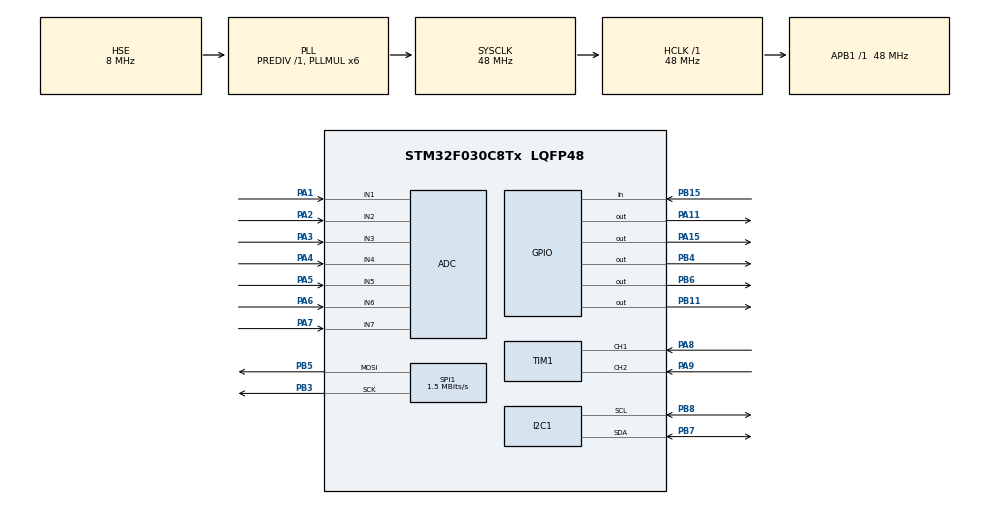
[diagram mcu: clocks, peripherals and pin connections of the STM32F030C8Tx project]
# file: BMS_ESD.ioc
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ADC.ContinuousConvMode=ENABLE
ADC.DMAContinuousRequests=DISABLE
ADC.DiscontinuousConvMode=DISABLE
ADC.SamplingTime=ADC_SAMPLETIME_239CYCLES_5
Dma.ADC.0.Direction=DMA_PERIPH_TO_MEMORY
Dma.ADC.0.Instance=DMA1_Channel1
Dma.ADC.0.MemDataAlignment=DMA_MDATAALIGN_HALFWORD
Dma.ADC.0.MemInc=DMA_MINC_ENABLE
Dma.ADC.0.Mode=DMA_CIRCULAR
Dma.ADC.0.PeriphDataAlignment=DMA_PDATAALIGN_HALFWORD
Dma.ADC.0.PeriphInc=DMA_PINC_DISABLE
Dma.ADC.0.Priority=DMA_PRIORITY_LOW
Dma.Request0=ADC
Mcu.Family=STM32F0
Mcu.Name=STM32F030C8Tx
Mcu.Package=LQFP48
NVIC.DMA1_Channel1_IRQn=true\:0\:0\:false\:false\:true\:false\:true\:true
NVIC.TIM17_IRQn=true\:0\:0\:false\:false\:true\:true\:true\:true
PA1.Mode=IN1
PA1.Signal=ADC_IN1
PA11.Signal=GPIO_Output
PA13.Mode=Serial_Wire
PA13.Signal=SYS_SWDIO
PA14.Mode=Serial_Wire
PA14.Signal=SYS_SWCLK
PA15.Signal=GPIO_Output
PA2.Mode=IN2
PA2.Signal=ADC_IN2
PA3.Mode=IN3
PA3.Signal=ADC_IN3
PA4.Mode=IN4
PA4.Signal=ADC_IN4
PA5.Mode=IN5
PA5.Signal=ADC_IN5
PA6.Mode=IN6
PA6.Signal=ADC_IN6
PA7.Mode=IN7
PA7.Signal=ADC_IN7
PA8.Signal=S_TIM1_CH1
PA9.Signal=S_TIM1_CH2
PB11.Signal=GPIO_Output
PB15.GPIO_PuPd=GPIO_PULLUP
PB15.Signal=GPIO_Input
PB3.Mode=TX_Only_Simplex_Unidirect_Master
PB3.Signal=SPI1_SCK
PB4.Signal=GPIO_Output
PB5.Mode=TX_Only_Simplex_Unidirect_Master
PB5.Signal=SPI1_MOSI
PB6.Signal=GPIO_Output
PB7.Mode=I2C
PB7.Signal=I2C1_SDA
PB8.Mode=I2C
PB8.Signal=I2C1_SCL
PF0-OSC_IN.Mode=HSE-External-Oscillator
PF0-OSC_IN.Signal=RCC_OSC_IN
PF1-OSC_OUT.Mode=HSE-External-Oscillator
PF1-OSC_OUT.Signal=RCC_OSC_OUT
ProjectManager.HeapSize=0x200
ProjectManager.StackSize=0x400
ProjectManager.TargetToolchain=STM32CubeIDE
RCC.AHBFreq_Value=48000000
RCC.APB1Freq_Value=48000000
RCC.APB1TimFreq_Value=48000000
RCC.HCLKFreq_Value=48000000
RCC.PLLMUL=RCC_PLL_MUL6
RCC.PLLSourceVirtual=RCC_PLLSOURCE_HSE
RCC.SYSCLKFreq_VALUE=48000000
RCC.SYSCLKSource=RCC_SYSCLKSOURCE_PLLCLK
SH.S_TIM1_CH1.0=TIM1_CH1,Encoder_Interface
SH.S_TIM1_CH2.0=TIM1_CH2,Encoder_Interface
SPI1.BaudRatePrescaler=SPI_BAUDRATEPRESCALER_32
SPI1.CalculateBaudRate=1.5 MBits/s
SPI1.DataSize=SPI_DATASIZE_8BIT
SPI1.Direction=SPI_DIRECTION_2LINES
SPI1.Mode=SPI_MODE_MASTER
SPI1.VirtualType=VM_MASTER
TIM1.EncoderMode=TIM_ENCODERMODE_TI12
TIM17.Period=39999
TIM17.Prescaler=239
VP_ADC_TempSens_Input.Mode=IN-TempSens
VP_TIM17_VS_ClockSourceINT.Mode=Enable_Timer
board=custom

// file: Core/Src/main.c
/* USER CODE BEGIN Header */
/**
  ******************************************************************************
  * @file           : main.c
  * @brief          : Main program body
  ******************************************************************************
  * @attention
  *
  * Copyright (c) 2023 STMicroelectronics.
  * All rights reserved.
  *
  * This software is licensed under terms that can be found in the LICENSE file
  * in the root directory of this software component.
  * If no LICENSE file comes with this software, it is provided AS-IS.
  *
  ******************************************************************************
  */
/* USER CODE END Header */
#include "main.h"

/* USER CODE BEGIN Includes */
#include "get_data.h"
#include "rotary_encoder.h"
#include "button.h"
#include "control_bat.h"
/* USER CODE END Includes */

/* USER CODE BEGIN PD */
#define BAT_NUMBEROFCELLS 4
/* USER CODE END PD */

ADC_HandleTypeDef hadc;
DMA_HandleTypeDef hdma_adc;

I2C_HandleTypeDef hi2c1;

SPI_HandleTypeDef hspi1;

TIM_HandleTypeDef htim1;
TIM_HandleTypeDef htim17;

/* USER CODE BEGIN PV */
BAT_t battery;
BUTTON_t button;
RE_t rotary;
MODE_t bat_mode;
/* USER CODE END PV */

void SystemClock_Config(void);
static void MX_GPIO_Init(void);
static void MX_DMA_Init(void);
static void MX_ADC_Init(void);
static void MX_I2C1_Init(void);
static void MX_SPI1_Init(void);
static void MX_TIM1_Init(void);
static void MX_TIM17_Init(void);

/* USER CODE BEGIN 0 */
void HAL_TIM_PeriodElapsedCallback(TIM_HandleTypeDef *htim)
{
	if (htim->Instance == htim17.Instance)
	{
		TASK_GetBatteryData(&battery);
	}
}

/* USER CODE END 0 */

int main(void)
{

  /* MCU Configuration--------------------------------------------------------*/

  /* Reset of all peripherals, Initializes the Flash interface and the Systick. */
  HAL_Init();

  /* Configure the system clock */
  SystemClock_Config();

  /* Initialize all configured peripherals */
  MX_GPIO_Init();
  MX_DMA_Init();
  MX_ADC_Init();
  MX_I2C1_Init();
  MX_SPI1_Init();
  MX_TIM1_Init();
  MX_TIM17_Init();
  /* USER CODE BEGIN 2 */
  HAL_TIM_Base_Start_IT(&htim17);
  BUTTON_Init(&button, GPIOA, GPIO_PIN_8);
  RE_Init(&rotary, &htim1);
  BAT_InitInfo(&battery, hadc, BAT_NUMBEROFCELLS);

  /* USER CODE END 2 */

  /* Infinite loop */
  while (1)
  {

    /* USER CODE BEGIN 3 */
	  BUTTON_Handle(&button);
	  RE_Handle(&rotary);
	  MODE_BatteryManager(&battery, bat_mode);
  }
  /* USER CODE END 3 */
}

void SystemClock_Config(void)
{
  RCC_OscInitTypeDef RCC_OscInitStruct = {0};
  RCC_ClkInitTypeDef RCC_ClkInitStruct = {0};
  RCC_PeriphCLKInitTypeDef PeriphClkInit = {0};

  /** Initializes the RCC Oscillators according to the specified parameters
  * in the RCC_OscInitTypeDef structure.
  */
  RCC_OscInitStruct.OscillatorType = RCC_OSCILLATORTYPE_HSI|RCC_OSCILLATORTYPE_HSI14
                              |RCC_OSCILLATORTYPE_HSE;
  RCC_OscInitStruct.HSEState = RCC_HSE_ON;
  RCC_OscInitStruct.HSIState = RCC_HSI_ON;
  RCC_OscInitStruct.HSI14State = RCC_HSI14_ON;
  RCC_OscInitStruct.HSICalibrationValue = RCC_HSICALIBRATION_DEFAULT;
  RCC_OscInitStruct.HSI14CalibrationValue = 16;
  RCC_OscInitStruct.PLL.PLLState = RCC_PLL_ON;
  RCC_OscInitStruct.PLL.PLLSource = RCC_PLLSOURCE_HSE;
  RCC_OscInitStruct.PLL.PLLMUL = RCC_PLL_MUL6;
  RCC_OscInitStruct.PLL.PREDIV = RCC_PREDIV_DIV1;
  if (HAL_RCC_OscConfig(&RCC_OscInitStruct) != HAL_OK)
  {
    Error_Handler();
  }

  /** Initializes the CPU, AHB and APB buses clocks
  */
  RCC_ClkInitStruct.ClockType = RCC_CLOCKTYPE_HCLK|RCC_CLOCKTYPE_SYSCLK
                              |RCC_CLOCKTYPE_PCLK1;
  RCC_ClkInitStruct.SYSCLKSource = RCC_SYSCLKSOURCE_PLLCLK;
  RCC_ClkInitStruct.AHBCLKDivider = RCC_SYSCLK_DIV1;
  RCC_ClkInitStruct.APB1CLKDivider = RCC_HCLK_DIV1;

  if (HAL_RCC_ClockConfig(&RCC_ClkInitStruct, FLASH_LATENCY_1) != HAL_OK)
  {
    Error_Handler();
  }
  PeriphClkInit.PeriphClockSelection = RCC_PERIPHCLK_I2C1;
  PeriphClkInit.I2c1ClockSelection = RCC_I2C1CLKSOURCE_HSI;
  if (HAL_RCCEx_PeriphCLKConfig(&PeriphClkInit) != HAL_OK)
  {
    Error_Handler();
  }
}

static void MX_ADC_Init(void)
{

  ADC_ChannelConfTypeDef sConfig = {0};

  /** Configure the global features of the ADC (Clock, Resolution, Data Alignment and number of conversion)
  */
  hadc.Instance = ADC1;
  hadc.Init.ClockPrescaler = ADC_CLOCK_ASYNC_DIV1;
  hadc.Init.Resolution = ADC_RESOLUTION_12B;
  hadc.Init.DataAlign = ADC_DATAALIGN_RIGHT;
  hadc.Init.ScanConvMode = ADC_SCAN_DIRECTION_FORWARD;
  hadc.Init.EOCSelection = ADC_EOC_SINGLE_CONV;
  hadc.Init.LowPowerAutoWait = DISABLE;
  hadc.Init.LowPowerAutoPowerOff = DISABLE;
  hadc.Init.ContinuousConvMode = ENABLE;
  hadc.Init.DiscontinuousConvMode = DISABLE;
  hadc.Init.ExternalTrigConv = ADC_SOFTWARE_START;
  hadc.Init.ExternalTrigConvEdge = ADC_EXTERNALTRIGCONVEDGE_NONE;
  hadc.Init.DMAContinuousRequests = DISABLE;
  hadc.Init.Overrun = ADC_OVR_DATA_PRESERVED;
  if (HAL_ADC_Init(&hadc) != HAL_OK)
  {
    Error_Handler();
  }

  /** Configure for the selected ADC regular channel to be converted.
  */
  sConfig.Channel = ADC_CHANNEL_1;
  sConfig.Rank = ADC_RANK_CHANNEL_NUMBER;
  sConfig.SamplingTime = ADC_SAMPLETIME_239CYCLES_5;
  if (HAL_ADC_ConfigChannel(&hadc, &sConfig) != HAL_OK)
  {
    Error_Handler();
  }

  /** Configure for the selected ADC regular channel to be converted.
  */
  sConfig.Channel = ADC_CHANNEL_2;
  if (HAL_ADC_ConfigChannel(&hadc, &sConfig) != HAL_OK)
  {
    Error_Handler();
  }

  /** Configure for the selected ADC regular channel to be converted.
  */
  sConfig.Channel = ADC_CHANNEL_3;
  if (HAL_ADC_ConfigChannel(&hadc, &sConfig) != HAL_OK)
  {
    Error_Handler();
  }

  /** Configure for the selected ADC regular channel to be converted.
  */
  sConfig.Channel = ADC_CHANNEL_4;
  if (HAL_ADC_ConfigChannel(&hadc, &sConfig) != HAL_OK)
  {
    Error_Handler();
  }

  /** Configure for the selected ADC regular channel to be converted.
  */
  sConfig.Channel = ADC_CHANNEL_5;
  if (HAL_ADC_ConfigChannel(&hadc, &sConfig) != HAL_OK)
  {
    Error_Handler();
  }

  /** Configure for the selected ADC regular channel to be converted.
  */
  sConfig.Channel = ADC_CHANNEL_6;
  if (HAL_ADC_ConfigChannel(&hadc, &sConfig) != HAL_OK)
  {
    Error_Handler();
  }

  /** Configure for the selected ADC regular channel to be converted.
  */
  sConfig.Channel = ADC_CHANNEL_7;
  if (HAL_ADC_ConfigChannel(&hadc, &sConfig) != HAL_OK)
  {
    Error_Handler();
  }

  /** Configure for the selected ADC regular channel to be converted.
  */
  sConfig.Channel = ADC_CHANNEL_TEMPSENSOR;
  if (HAL_ADC_ConfigChannel(&hadc, &sConfig) != HAL_OK)
  {
    Error_Handler();
  }

}

static void MX_I2C1_Init(void)
{

  hi2c1.Instance = I2C1;
  hi2c1.Init.Timing = 0x2000090E;
  hi2c1.Init.OwnAddress1 = 0;
  hi2c1.Init.AddressingMode = I2C_ADDRESSINGMODE_7BIT;
  hi2c1.Init.DualAddressMode = I2C_DUALADDRESS_DISABLE;
  hi2c1.Init.OwnAddress2 = 0;
  hi2c1.Init.OwnAddress2Masks = I2C_OA2_NOMASK;
  hi2c1.Init.GeneralCallMode = I2C_GENERALCALL_DISABLE;
  hi2c1.Init.NoStretchMode = I2C_NOSTRETCH_DISABLE;
  if (HAL_I2C_Init(&hi2c1) != HAL_OK)
  {
    Error_Handler();
  }

  /** Configure Analogue filter
  */
  if (HAL_I2CEx_ConfigAnalogFilter(&hi2c1, I2C_ANALOGFILTER_ENABLE) != HAL_OK)
  {
    Error_Handler();
  }

  /** Configure Digital filter
  */
  if (HAL_I2CEx_ConfigDigitalFilter(&hi2c1, 0) != HAL_OK)
  {
    Error_Handler();
  }

}

static void MX_SPI1_Init(void)
{

  /* SPI1 parameter configuration*/
  hspi1.Instance = SPI1;
  hspi1.Init.Mode = SPI_MODE_MASTER;
  hspi1.Init.Direction = SPI_DIRECTION_2LINES;
  hspi1.Init.DataSize = SPI_DATASIZE_8BIT;
  hspi1.Init.CLKPolarity = SPI_POLARITY_LOW;
  hspi1.Init.CLKPhase = SPI_PHASE_1EDGE;
  hspi1.Init.NSS = SPI_NSS_SOFT;
  hspi1.Init.BaudRatePrescaler = SPI_BAUDRATEPRESCALER_32;
  hspi1.Init.FirstBit = SPI_FIRSTBIT_MSB;
  hspi1.Init.TIMode = SPI_TIMODE_DISABLE;
  hspi1.Init.CRCCalculation = SPI_CRCCALCULATION_DISABLE;
  hspi1.Init.CRCPolynomial = 7;
  hspi1.Init.CRCLength = SPI_CRC_LENGTH_DATASIZE;
  hspi1.Init.NSSPMode = SPI_NSS_PULSE_ENABLE;
  if (HAL_SPI_Init(&hspi1) != HAL_OK)
  {
    Error_Handler();
  }

}

static void MX_TIM1_Init(void)
{

  TIM_Encoder_InitTypeDef sConfig = {0};
  TIM_MasterConfigTypeDef sMasterConfig = {0};

  htim1.Instance = TIM1;
  htim1.Init.Prescaler = 0;
  htim1.Init.CounterMode = TIM_COUNTERMODE_UP;
  htim1.Init.Period = 65535;
  htim1.Init.ClockDivision = TIM_CLOCKDIVISION_DIV1;
  htim1.Init.RepetitionCounter = 0;
  htim1.Init.AutoReloadPreload = TIM_AUTORELOAD_PRELOAD_DISABLE;
  sConfig.EncoderMode = TIM_ENCODERMODE_TI12;
  sConfig.IC1Polarity = TIM_ICPOLARITY_RISING;
  sConfig.IC1Selection = TIM_ICSELECTION_DIRECTTI;
  sConfig.IC1Prescaler = TIM_ICPSC_DIV1;
  sConfig.IC1Filter = 0;
  sConfig.IC2Polarity = TIM_ICPOLARITY_RISING;
  sConfig.IC2Selection = TIM_ICSELECTION_DIRECTTI;
  sConfig.IC2Prescaler = TIM_ICPSC_DIV1;
  sConfig.IC2Filter = 0;
  if (HAL_TIM_Encoder_Init(&htim1, &sConfig) != HAL_OK)
  {
    Error_Handler();
  }
  sMasterConfig.MasterOutputTrigger = TIM_TRGO_RESET;
  sMasterConfig.MasterSlaveMode = TIM_MASTERSLAVEMODE_DISABLE;
  if (HAL_TIMEx_MasterConfigSynchronization(&htim1, &sMasterConfig) != HAL_OK)
  {
    Error_Handler();
  }

}

static void MX_TIM17_Init(void)
{

  htim17.Instance = TIM17;
  htim17.Init.Prescaler = 239;
  htim17.Init.CounterMode = TIM_COUNTERMODE_UP;
  htim17.Init.Period = 39999;
  htim17.Init.ClockDivision = TIM_CLOCKDIVISION_DIV1;
  htim17.Init.RepetitionCounter = 0;
  htim17.Init.AutoReloadPreload = TIM_AUTORELOAD_PRELOAD_DISABLE;
  if (HAL_TIM_Base_Init(&htim17) != HAL_OK)
  {
    Error_Handler();
  }

}

static void MX_DMA_Init(void)
{

  /* DMA controller clock enable */
  __HAL_RCC_DMA1_CLK_ENABLE();

  /* DMA interrupt init */
  /* DMA1_Channel1_IRQn interrupt configuration */
  HAL_NVIC_SetPriority(DMA1_Channel1_IRQn, 0, 0);
  HAL_NVIC_EnableIRQ(DMA1_Channel1_IRQn);

}

static void MX_GPIO_Init(void)
{
  GPIO_InitTypeDef GPIO_InitStruct = {0};

  /* GPIO Ports Clock Enable */
  __HAL_RCC_GPIOF_CLK_ENABLE();
  __HAL_RCC_GPIOA_CLK_ENABLE();
  __HAL_RCC_GPIOB_CLK_ENABLE();

  /*Configure GPIO pin Output Level */
  HAL_GPIO_WritePin(GPIOB, GPIO_PIN_11|GPIO_PIN_4|GPIO_PIN_6, GPIO_PIN_RESET);

  /*Configure GPIO pin Output Level */
  HAL_GPIO_WritePin(GPIOA, GPIO_PIN_11|GPIO_PIN_15, GPIO_PIN_RESET);

  /*Configure GPIO pins : PB11 PB4 PB6 */
  GPIO_InitStruct.Pin = GPIO_PIN_11|GPIO_PIN_4|GPIO_PIN_6;
  GPIO_InitStruct.Mode = GPIO_MODE_OUTPUT_PP;
  GPIO_InitStruct.Pull = GPIO_NOPULL;
  GPIO_InitStruct.Speed = GPIO_SPEED_FREQ_LOW;
  HAL_GPIO_Init(GPIOB, &GPIO_InitStruct);

  /*Configure GPIO pin : PB15 */
  GPIO_InitStruct.Pin = GPIO_PIN_15;
  GPIO_InitStruct.Mode = GPIO_MODE_INPUT;
  GPIO_InitStruct.Pull = GPIO_PULLUP;
  HAL_GPIO_Init(GPIOB, &GPIO_InitStruct);

  /*Configure GPIO pins : PA11 PA15 */
  GPIO_InitStruct.Pin = GPIO_PIN_11|GPIO_PIN_15;
  GPIO_InitStruct.Mode = GPIO_MODE_OUTPUT_PP;
  GPIO_InitStruct.Pull = GPIO_NOPULL;
  GPIO_InitStruct.Speed = GPIO_SPEED_FREQ_LOW;
  HAL_GPIO_Init(GPIOA, &GPIO_InitStruct);

}

void Error_Handler(void)
{
  __disable_irq();
  while (1)
  {
  }
}
